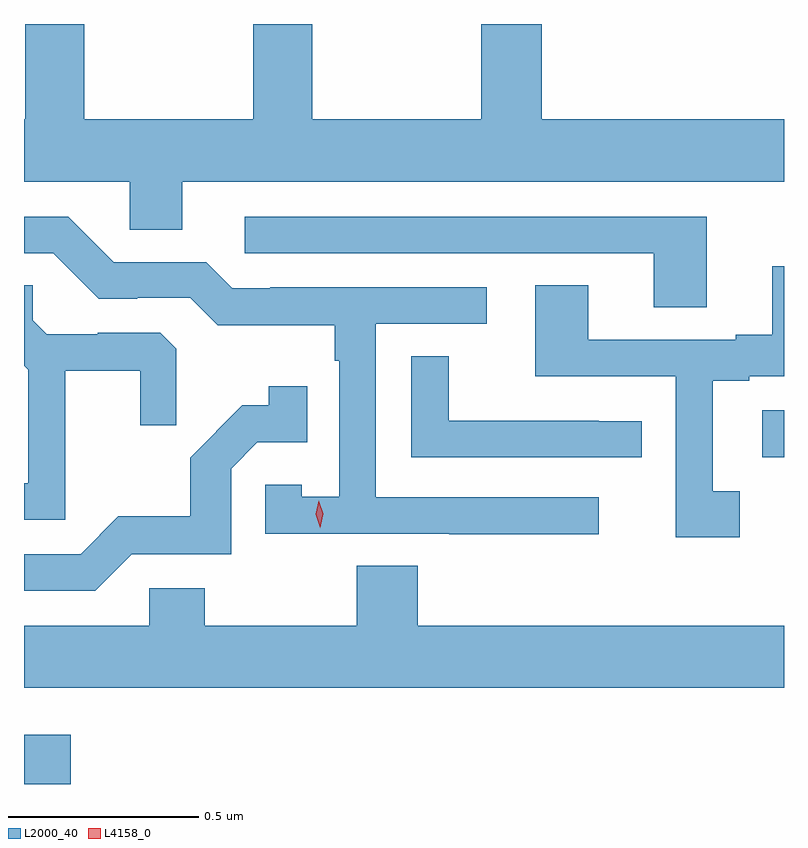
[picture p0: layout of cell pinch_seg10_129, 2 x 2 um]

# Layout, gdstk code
import gdstk
lib = gdstk.Library(unit=1e-6, precision=1e-09)
def R(c, l, rs):  # rectangles x0, y0, x1, y1
    for r in rs: c.add(gdstk.rectangle(r[:2], r[2:], *l))
def P(c, l, *ps):  # polygons
    for p in ps: c.add(gdstk.Polygon(p, *l))
L2000_40 = (2000, 40)
L4158_0 = (4158, 0)

pinch_seg10_129 = lib.new_cell('pinch_seg10_129')
R(pinch_seg10_129, L2000_40, [(766.409,1264.099,766.531,1264.228), (768.351,1264.959,768.408,1265.083)])
P(pinch_seg10_129, L2000_40, [(766.566,1266.099),(766.411,1266.099),(766.411,1265.848),(766.408,1265.848),(766.408,1265.684),(766.686,1265.684),(766.686,1265.557),(766.825,1265.557),(766.825,1265.684),(768.408,1265.684),(768.408,1265.848),(767.771,1265.848),(767.771,1266.099),(767.611,1266.099),(767.611,1265.848),(767.166,1265.848),(767.166,1266.099),(767.011,1266.099),(767.011,1265.848),(766.566,1265.848)],
  [(768.205,1265.592),(766.989,1265.592),(766.989,1265.496),(768.065,1265.496),(768.065,1265.353),(768.205,1265.353)],
  [(767.92,1264.854),(767.334,1264.854),(767.334,1265.31),(767.626,1265.31),(767.626,1265.406),(767.056,1265.406),(767.056,1265.403),(766.956,1265.403),(766.887,1265.472),(766.644,1265.472),(766.524,1265.592),(766.408,1265.592),(766.408,1265.496),(766.485,1265.496),(766.605,1265.376),(766.706,1265.376),(766.706,1265.379),(766.845,1265.379),(766.918,1265.306),(767.226,1265.306),(767.226,1265.213),(767.238,1265.213),(767.238,1264.855),(767.139,1264.855),(767.139,1264.887),(767.043,1264.887),(767.043,1264.758),(767.527,1264.758),(767.527,1264.756),(767.92,1264.756)],
  [(768.292,1264.869),(768.22,1264.869),(768.22,1265.16),(768.316,1265.16),(768.316,1265.172),(768.408,1265.172),(768.408,1265.461),(768.377,1265.461),(768.377,1265.281),(768.281,1265.281),(768.281,1265.268),(767.893,1265.268),(767.893,1265.411),(767.753,1265.411),(767.753,1265.172),(768.123,1265.172),(768.123,1264.749),(768.292,1264.749)],
  [(766.517,1265.186),(766.714,1265.186),(766.714,1265.043),(766.808,1265.043),(766.808,1265.245),(766.767,1265.286),(766.602,1265.286),(766.602,1265.283),(766.468,1265.283),(766.431,1265.32),(766.431,1265.411),(766.408,1265.411),(766.408,1265.2),(766.419,1265.189),(766.419,1264.89),(766.408,1264.89),(766.408,1264.794),(766.517,1264.794)],
  [(768.034,1265.054),(767.921,1265.054),(767.921,1265.055),(767.526,1265.055),(767.526,1265.225),(767.427,1265.225),(767.427,1264.959),(768.034,1264.959)],
  [(766.692,1264.704),(766.953,1264.704),(766.953,1264.929),(767.022,1264.998),(767.153,1264.998),(767.153,1265.146),(767.052,1265.146),(767.052,1265.096),(766.982,1265.096),(766.845,1264.958),(766.845,1264.803),(766.656,1264.803),(766.557,1264.704),(766.408,1264.704),(766.408,1264.608),(766.596,1264.608)],
  [(768.408,1264.516),(767.444,1264.516),(767.444,1264.673),(767.284,1264.673),(767.284,1264.516),(766.884,1264.516),(766.884,1264.614),(766.737,1264.614),(766.737,1264.516),(766.408,1264.516),(766.408,1264.352),(768.408,1264.352)])
P(pinch_seg10_129, L4158_0, [(767.187,1264.773),(767.187,1264.773),(767.176,1264.809),(767.184,1264.845),(767.184,1264.845),(767.184,1264.845),(767.196,1264.81),(767.187,1264.773)])

lib.write_gds('pinch_seg10_129.gds')
